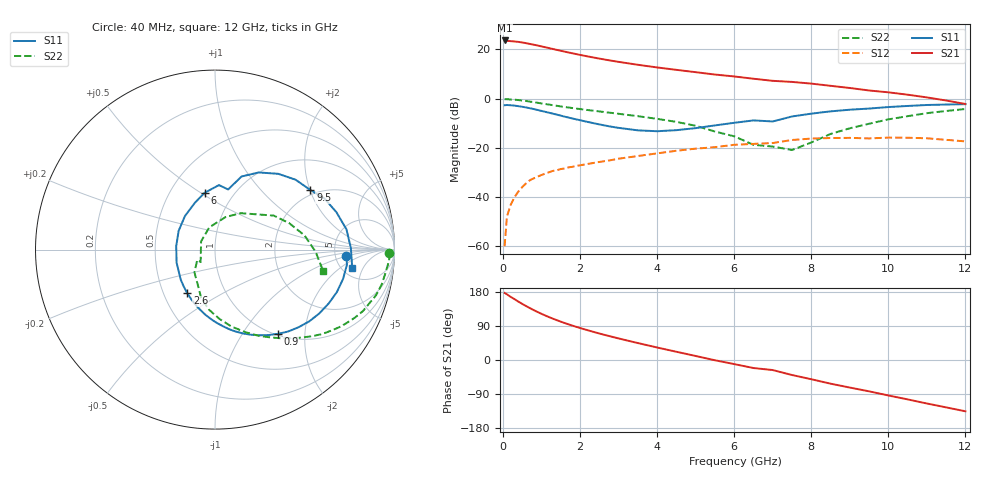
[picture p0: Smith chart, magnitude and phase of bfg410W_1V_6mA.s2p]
! Filename: 16bfg410.001
! BFG410W Field B1
! V1=8.686E-001V,V2=1.000E+000V, I1=9.561E-005A, I2=6.010E-003A
# GHz  S  MA  R 50
!  S11  S21  S12  S22
!Freq(GHz)  Mag  Ang  Mag  Ang  Mag  Ang  Mag  Ang
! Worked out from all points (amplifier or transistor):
!   44 points, 40 MHz to 12 GHz, reference 50 ohm
!   highest |S21| = 23.6 dB at 40 MHz (marker M1)
!   |S21| within 3 dB of that: start of sweep to 1.162 GHz
!   unconditionally stable (mu >= 1): start of sweep to 44.12 MHz; 2.274 GHz to end of sweep
!   at 700 MHz: K = 0.40, MSG = 27.7 dB, |S12| = -33.2 dB
!   at 2.4 GHz: K = 1.03, MAG = 20.2 dB, |S12| = -26.0 dB
!   at 12 GHz: K = 1.55, MAG = 3.2 dB, |S12| = -17.4 dB
!   S11 on the Smith chart (normalised r, x): 40 MHz: 6.35, -0.93; 900 MHz: 1.02, -1.46; 2.6 GHz: 0.66, -0.35; 6 GHz: 0.74, +0.52; 9.5 GHz: 1.84, +2.02; 12 GHz: 6.17, -3.07
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0.04  0.733 -2.6  15.19 177.0  0.001 58.2  0.972 -1.1
0.1  0.74 -6.5  14.97 173.4  0.004 87.8  0.972 -3.6
0.3  0.719 -19.2  14.49 160.4  0.01 78.7  0.949 -11.8
0.5  0.681 -31.5  13.81 147.9  0.016 71.4  0.911 -19.1
0.7  0.636 -42.8  12.89 136.7  0.022 65.2  0.868 -25.8
0.9  0.586 -53.2  11.98 126.5  0.026 60.3  0.821 -31.5
1.2  0.514 -67.3  10.59 112.9  0.032 54.6  0.754 -38.8
1.5  0.45 -80.0  9.364 101.1  0.037 50.4  0.693 -44.9
1.8  0.394 -91.9  8.324 90.7  0.041 47.1  0.642 -50.3
2.2  0.335 -106.9  7.191 78.4  0.047 43.5  0.585 -56.9
2.6  0.288 -122.4  6.292 67.2  0.053 40.3  0.536 -63.3
3  0.254 -138.7  5.576 56.9  0.06 36.9  0.491 -69.7
3.5  0.226 -161.3  4.865 44.7  0.068 32.2  0.439 -77.8
4.5  0.228 152.7  3.838 21.7  0.087 20.7  0.336 -95.8
5.5  0.285 112.9  3.081 -0.7  0.103 6.0  0.214 -117.1
6  0.322 100.3  2.818 -10.8  0.115 -0.4  0.171 -132.0
6.5  0.36 86.5  2.533 -21.2  0.12 -7.4  0.115 -149.6
7.5  0.433 70.1  2.183 -39.6  0.144 -18.1  0.09 149.4
8.5  0.55 50.1  1.818 -62.5  0.158 -40.1  0.191 71.9
9.5  0.627 31.9  1.461 -82.7  0.155 -59.0  0.308 39.5
10.5  0.708 17.1  1.2 -103.9  0.16 -78.6  0.439 19.6
12  0.771 -7.5  0.777 -135.4  0.135 -114.5  0.614 -11.2
